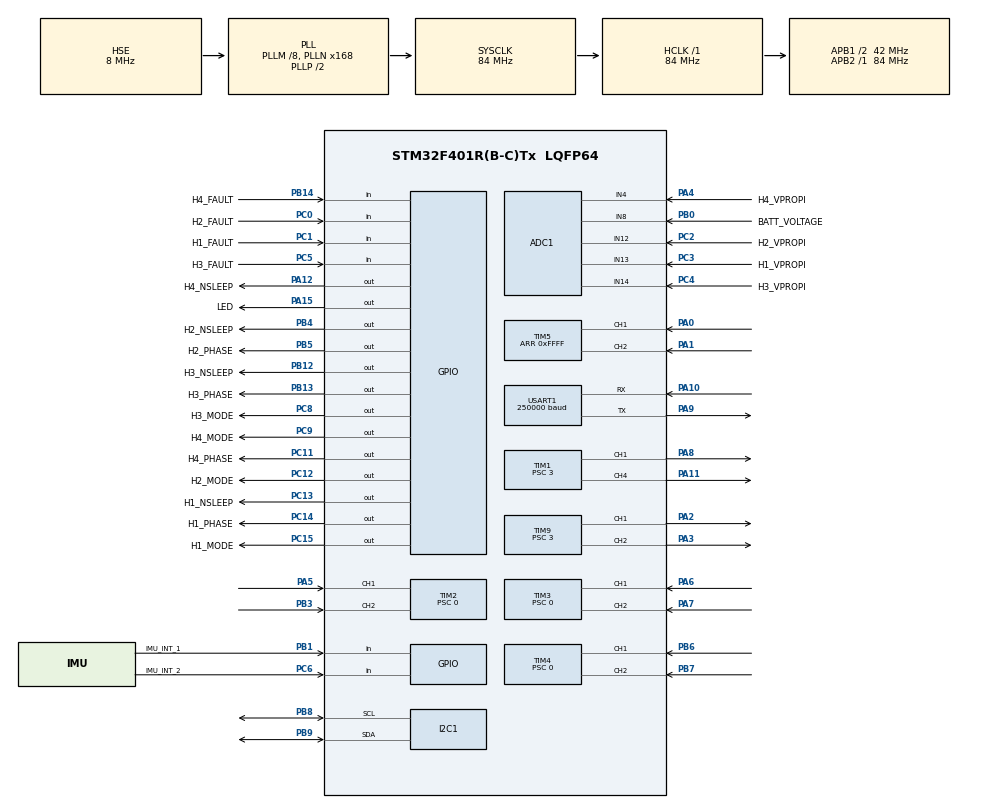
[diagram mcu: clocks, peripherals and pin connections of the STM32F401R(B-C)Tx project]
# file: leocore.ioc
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ADC1.Channel-0\#ChannelRegularConversion=ADC_CHANNEL_13
ADC1.Channel-1\#ChannelRegularConversion=ADC_CHANNEL_12
ADC1.Channel-2\#ChannelRegularConversion=ADC_CHANNEL_14
ADC1.Channel-3\#ChannelRegularConversion=ADC_CHANNEL_4
ADC1.Channel-4\#ChannelRegularConversion=ADC_CHANNEL_8
ADC1.ClockPrescaler=ADC_CLOCK_SYNC_PCLK_DIV8
ADC1.ContinuousConvMode=ENABLE
ADC1.DMAContinuousRequests=ENABLE
ADC1.NbrOfConversion=5
ADC1.NbrOfConversionFlag=1
ADC1.Rank-0\#ChannelRegularConversion=1
ADC1.Rank-1\#ChannelRegularConversion=2
ADC1.Rank-2\#ChannelRegularConversion=3
ADC1.Rank-3\#ChannelRegularConversion=4
ADC1.Rank-4\#ChannelRegularConversion=5
ADC1.SamplingTime-0\#ChannelRegularConversion=ADC_SAMPLETIME_480CYCLES
ADC1.SamplingTime-1\#ChannelRegularConversion=ADC_SAMPLETIME_480CYCLES
ADC1.SamplingTime-2\#ChannelRegularConversion=ADC_SAMPLETIME_480CYCLES
ADC1.SamplingTime-3\#ChannelRegularConversion=ADC_SAMPLETIME_480CYCLES
ADC1.SamplingTime-4\#ChannelRegularConversion=ADC_SAMPLETIME_480CYCLES
ADC1.ScanConvMode=ENABLE
ADC1.master=1
Dma.ADC1.0.Direction=DMA_PERIPH_TO_MEMORY
Dma.ADC1.0.FIFOMode=DMA_FIFOMODE_DISABLE
Dma.ADC1.0.Instance=DMA2_Stream0
Dma.ADC1.0.MemDataAlignment=DMA_MDATAALIGN_HALFWORD
Dma.ADC1.0.MemInc=DMA_MINC_ENABLE
Dma.ADC1.0.Mode=DMA_CIRCULAR
Dma.ADC1.0.PeriphDataAlignment=DMA_PDATAALIGN_HALFWORD
Dma.ADC1.0.PeriphInc=DMA_PINC_DISABLE
Dma.ADC1.0.Priority=DMA_PRIORITY_LOW
Dma.Request0=ADC1
Dma.Request1=USART1_RX
Dma.Request2=USART1_TX
Dma.USART1_RX.1.Direction=DMA_PERIPH_TO_MEMORY
Dma.USART1_RX.1.FIFOMode=DMA_FIFOMODE_DISABLE
Dma.USART1_RX.1.Instance=DMA2_Stream2
Dma.USART1_RX.1.MemDataAlignment=DMA_MDATAALIGN_BYTE
Dma.USART1_RX.1.MemInc=DMA_MINC_ENABLE
Dma.USART1_RX.1.Mode=DMA_CIRCULAR
Dma.USART1_RX.1.PeriphDataAlignment=DMA_PDATAALIGN_BYTE
Dma.USART1_RX.1.PeriphInc=DMA_PINC_DISABLE
Dma.USART1_RX.1.Priority=DMA_PRIORITY_LOW
Dma.USART1_TX.2.Direction=DMA_MEMORY_TO_PERIPH
Dma.USART1_TX.2.FIFOMode=DMA_FIFOMODE_DISABLE
Dma.USART1_TX.2.Instance=DMA2_Stream7
Dma.USART1_TX.2.MemDataAlignment=DMA_MDATAALIGN_BYTE
Dma.USART1_TX.2.MemInc=DMA_MINC_ENABLE
Dma.USART1_TX.2.Mode=DMA_NORMAL
Dma.USART1_TX.2.PeriphDataAlignment=DMA_PDATAALIGN_BYTE
Dma.USART1_TX.2.PeriphInc=DMA_PINC_DISABLE
Dma.USART1_TX.2.Priority=DMA_PRIORITY_LOW
I2C1.I2C_Mode=I2C_Standard
Mcu.Family=STM32F4
Mcu.Name=STM32F401R(B-C)Tx
Mcu.Package=LQFP64
NVIC.DMA2_Stream0_IRQn=true\:1\:0\:true\:false\:true\:false\:true
NVIC.DMA2_Stream2_IRQn=true\:1\:0\:true\:false\:true\:false\:true
NVIC.DMA2_Stream7_IRQn=true\:1\:0\:true\:false\:true\:false\:true
NVIC.PriorityGroup=NVIC_PRIORITYGROUP_4
NVIC.TIM1_TRG_COM_TIM11_IRQn=true\:7\:0\:true\:false\:true\:true\:true
NVIC.USART1_IRQn=true\:1\:0\:true\:false\:true\:true\:true
PA0-WKUP.GPIO_PuPd=GPIO_PULLUP
PA0-WKUP.Signal=S_TIM5_CH1
PA1.GPIO_PuPd=GPIO_PULLUP
PA1.Signal=S_TIM5_CH2
PA10.Mode=Asynchronous
PA10.Signal=USART1_RX
PA11.Signal=S_TIM1_CH4
PA12.GPIO_Label=H4_NSLEEP
PA12.Signal=GPIO_Output
PA13.Mode=Serial_Wire
PA13.Signal=SYS_JTMS-SWDIO
PA14.Mode=Serial_Wire
PA14.Signal=SYS_JTCK-SWCLK
PA15.GPIO_Label=LED
PA15.GPIO_ModeDefaultOutputPP=GPIO_MODE_OUTPUT_OD
PA15.PinState=GPIO_PIN_SET
PA15.Signal=GPIO_Output
PA2.Signal=S_TIM9_CH1
PA3.Signal=S_TIM9_CH2
PA4.GPIO_Label=H4_VPROPI
PA4.Signal=ADCx_IN4
PA5.GPIO_PuPd=GPIO_PULLUP
PA5.Signal=S_TIM2_CH1_ETR
PA6.GPIO_PuPd=GPIO_PULLUP
PA6.Signal=S_TIM3_CH1
PA7.GPIO_PuPd=GPIO_PULLUP
PA7.Signal=S_TIM3_CH2
PA8.Signal=S_TIM1_CH1
PA9.Mode=Asynchronous
PA9.Signal=USART1_TX
PB0.GPIO_Label=BATT_VOLTAGE
PB0.Signal=ADCx_IN8
PB1.GPIO_Label=IMU_INT_1
PB1.Signal=GPIO_Input
PB12.GPIO_Label=H3_NSLEEP
PB12.Signal=GPIO_Output
PB13.GPIO_Label=H3_PHASE
PB13.Signal=GPIO_Output
PB14.GPIO_Label=H4_FAULT
PB14.Signal=GPIO_Input
PB3.GPIO_PuPd=GPIO_PULLUP
PB3.Signal=S_TIM2_CH2
PB4.GPIO_Label=H2_NSLEEP
PB4.Signal=GPIO_Output
PB5.GPIO_Label=H2_PHASE
PB5.Signal=GPIO_Output
PB6.GPIO_PuPd=GPIO_PULLUP
PB6.Signal=S_TIM4_CH1
PB7.GPIO_PuPd=GPIO_PULLUP
PB7.Signal=S_TIM4_CH2
PB8.GPIO_Pu=GPIO_PULLUP
PB8.Mode=I2C
PB8.Signal=I2C1_SCL
PB9.GPIO_Pu=GPIO_PULLUP
PB9.Mode=I2C
PB9.Signal=I2C1_SDA
PC0.GPIO_Label=H2_FAULT
PC0.Signal=GPIO_Input
PC1.GPIO_Label=H1_FAULT
PC1.Signal=GPIO_Input
PC11.GPIO_Label=H4_PHASE
PC11.Signal=GPIO_Output
PC12.GPIO_Label=H2_MODE
PC12.Signal=GPIO_Output
PC13-ANTI_TAMP.GPIO_Label=H1_NSLEEP
PC13-ANTI_TAMP.Signal=GPIO_Output
PC14-OSC32_IN.GPIO_Label=H1_PHASE
PC14-OSC32_IN.Signal=GPIO_Output
PC15-OSC32_OUT.GPIO_Label=H1_MODE
PC15-OSC32_OUT.Signal=GPIO_Output
PC2.GPIO_Label=H2_VPROPI
PC2.Signal=ADCx_IN12
PC3.GPIO_Label=H1_VPROPI
PC3.Signal=ADCx_IN13
PC4.GPIO_Label=H3_VPROPI
PC4.Signal=ADCx_IN14
PC5.GPIO_Label=H3_FAULT
PC5.Signal=GPIO_Input
PC6.GPIO_Label=IMU_INT_2
PC6.Signal=GPIO_Input
PC8.GPIO_Label=H3_MODE
PC8.Signal=GPIO_Output
PC9.GPIO_Label=H4_MODE
PC9.Signal=GPIO_Output
PH0\ -\ OSC_IN.Mode=HSE-External-Oscillator
PH0\ -\ OSC_IN.Signal=RCC_OSC_IN
PH1\ -\ OSC_OUT.Mode=HSE-External-Oscillator
PH1\ -\ OSC_OUT.Signal=RCC_OSC_OUT
ProjectManager.HeapSize=0x200
ProjectManager.StackSize=0x400
ProjectManager.TargetToolchain=Other Toolchains (GPDSC)
RCC.48MHZClocksFreq_Value=42000000
RCC.AHBFreq_Value=84000000
RCC.APB1CLKDivider=RCC_HCLK_DIV2
RCC.APB1Freq_Value=42000000
RCC.APB1TimFreq_Value=84000000
RCC.APB2Freq_Value=84000000
RCC.APB2TimFreq_Value=84000000
RCC.CortexFreq_Value=84000000
RCC.HCLKFreq_Value=84000000
RCC.HSE_VALUE=8000000
RCC.HSI_VALUE=16000000
RCC.LSE_VALUE=32768
RCC.PLLM=8
RCC.PLLN=168
RCC.PLLSourceVirtual=RCC_PLLSOURCE_HSE
RCC.SYSCLKFreq_VALUE=84000000
RCC.SYSCLKSource=RCC_SYSCLKSOURCE_PLLCLK
RCC.VCOOutputFreq_Value=168000000
SH.ADCx_IN12.0=ADC1_IN12,IN12
SH.ADCx_IN13.0=ADC1_IN13,IN13
SH.ADCx_IN14.0=ADC1_IN14,IN14
SH.ADCx_IN4.0=ADC1_IN4,IN4
SH.ADCx_IN8.0=ADC1_IN8,IN8
SH.S_TIM1_CH1.0=TIM1_CH1,PWM Generation1 CH1
SH.S_TIM1_CH4.0=TIM1_CH4,PWM Generation4 CH4
SH.S_TIM2_CH1_ETR.0=TIM2_CH1,Encoder_Interface
SH.S_TIM2_CH2.0=TIM2_CH2,Encoder_Interface
SH.S_TIM3_CH1.0=TIM3_CH1,Encoder_Interface
SH.S_TIM3_CH2.0=TIM3_CH2,Encoder_Interface
SH.S_TIM4_CH1.0=TIM4_CH1,Encoder_Interface
SH.S_TIM4_CH2.0=TIM4_CH2,Encoder_Interface
SH.S_TIM5_CH1.0=TIM5_CH1,Encoder_Interface
SH.S_TIM5_CH2.0=TIM5_CH2,Encoder_Interface
SH.S_TIM9_CH1.0=TIM9_CH1,PWM Generation1 CH1
SH.S_TIM9_CH2.0=TIM9_CH2,PWM Generation2 CH2
TIM1.Channel-PWM\ Generation1\ CH1=TIM_CHANNEL_1
TIM1.Channel-PWM\ Generation4\ CH4=TIM_CHANNEL_4
TIM1.Period=999
TIM1.Prescaler=3
TIM11.Period=10000
TIM11.Prescaler=83
TIM2.EncoderMode=TIM_ENCODERMODE_TI12
TIM2.IC1Filter=8
TIM2.IC2Filter=8
TIM2.Period=0xFFFF
TIM2.Prescaler=0
TIM3.EncoderMode=TIM_ENCODERMODE_TI12
TIM3.IC1Filter=8
TIM3.IC2Filter=8
TIM3.Period=0xFFFF
TIM3.Prescaler=0
TIM4.EncoderMode=TIM_ENCODERMODE_TI12
TIM4.IC1Filter=8
TIM4.IC2Filter=8
TIM4.Period=0xFFFF
TIM4.Prescaler=0
TIM5.EncoderMode=TIM_ENCODERMODE_TI12
TIM5.IC1Filter=8
TIM5.IC2Filter=8
TIM5.Period=0xFFFF
TIM9.Channel-PWM\ Generation1\ CH1=TIM_CHANNEL_1
TIM9.Channel-PWM\ Generation2\ CH2=TIM_CHANNEL_2
TIM9.Period=999
TIM9.Prescaler=3
USART1.BaudRate=250000
USART1.VirtualMode=VM_ASYNC
VP_TIM11_VS_ClockSourceINT.Mode=Enable_Timer
VP_TIM1_VS_ClockSourceINT.Mode=Internal
VP_TIM9_VS_ClockSourceINT.Mode=Internal
board=custom

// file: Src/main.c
/* USER CODE BEGIN Header */
/**
  ******************************************************************************
  * @file           : main.c
  * @brief          : Main program body
  ******************************************************************************
  * @attention
  *
  * <h2><center>&copy; Copyright (c) 2021 STMicroelectronics.
  * All rights reserved.</center></h2>
  *
  * This software component is licensed by ST under BSD 3-Clause license,
  * the "License"; You may not use this file except in compliance with the
  * License. You may obtain a copy of the License at:
  *                        opensource.org/licenses/BSD-3-Clause
  *
  ******************************************************************************
  */
/* USER CODE END Header */
#include "main.h"
#include "adc.h"
#include "dma.h"
#include "i2c.h"
#include "tim.h"
#include "usart.h"
#include "gpio.h"

/* USER CODE BEGIN Includes */
#include "mainf.h"
/* USER CODE END Includes */

/* USER CODE BEGIN PV */
volatile uint16_t adc_buff[5];
/* USER CODE END PV */

void SystemClock_Config(void);

int main(void)
{

  /* MCU Configuration--------------------------------------------------------*/

  /* Reset of all peripherals, Initializes the Flash interface and the Systick. */
  HAL_Init();

  /* Configure the system clock */
  SystemClock_Config();

  /* Initialize all configured peripherals */
  MX_GPIO_Init();
  MX_DMA_Init();
  MX_ADC1_Init();
  MX_I2C1_Init();
  MX_TIM1_Init();
  MX_TIM2_Init();
  MX_TIM3_Init();
  MX_TIM4_Init();
  MX_TIM5_Init();
  MX_TIM11_Init();
  MX_TIM9_Init();
  MX_USART1_UART_Init();
  /* USER CODE BEGIN 2 */
  HAL_TIM_PWM_Start(&htim1, TIM_CHANNEL_1);
  HAL_TIM_PWM_Start(&htim1, TIM_CHANNEL_4);
  HAL_TIM_PWM_Start(&htim9, TIM_CHANNEL_1);
  HAL_TIM_PWM_Start(&htim9, TIM_CHANNEL_2);

  HAL_TIM_Encoder_Start(&htim2, TIM_CHANNEL_ALL);
  HAL_TIM_Encoder_Start(&htim3, TIM_CHANNEL_ALL);
  HAL_TIM_Encoder_Start(&htim4, TIM_CHANNEL_ALL);
  HAL_TIM_Encoder_Start(&htim5, TIM_CHANNEL_ALL);

  HAL_TIM_Base_Start_IT(&htim11);
  HAL_ADC_Start_DMA(&hadc1, (uint32_t*)adc_buff, 5);

  setup();
  /* USER CODE END 2 */

  /* Infinite loop */
  /* USER CODE BEGIN WHILE */
  while (1)
  {
    loop();
    /* USER CODE END WHILE */

  }
}

void SystemClock_Config(void)
{
  RCC_OscInitTypeDef RCC_OscInitStruct = {0};
  RCC_ClkInitTypeDef RCC_ClkInitStruct = {0};

  /** Configure the main internal regulator output voltage
  */
  __HAL_RCC_PWR_CLK_ENABLE();
  __HAL_PWR_VOLTAGESCALING_CONFIG(PWR_REGULATOR_VOLTAGE_SCALE2);
  /** Initializes the RCC Oscillators according to the specified parameters
  * in the RCC_OscInitTypeDef structure.
  */
  RCC_OscInitStruct.OscillatorType = RCC_OSCILLATORTYPE_HSE;
  RCC_OscInitStruct.HSEState = RCC_HSE_ON;
  RCC_OscInitStruct.PLL.PLLState = RCC_PLL_ON;
  RCC_OscInitStruct.PLL.PLLSource = RCC_PLLSOURCE_HSE;
  RCC_OscInitStruct.PLL.PLLM = 8;
  RCC_OscInitStruct.PLL.PLLN = 168;
  RCC_OscInitStruct.PLL.PLLP = RCC_PLLP_DIV2;
  RCC_OscInitStruct.PLL.PLLQ = 4;
  if (HAL_RCC_OscConfig(&RCC_OscInitStruct) != HAL_OK)
  {
    Error_Handler();
  }
  /** Initializes the CPU, AHB and APB buses clocks
  */
  RCC_ClkInitStruct.ClockType = RCC_CLOCKTYPE_HCLK|RCC_CLOCKTYPE_SYSCLK
                              |RCC_CLOCKTYPE_PCLK1|RCC_CLOCKTYPE_PCLK2;
  RCC_ClkInitStruct.SYSCLKSource = RCC_SYSCLKSOURCE_PLLCLK;
  RCC_ClkInitStruct.AHBCLKDivider = RCC_SYSCLK_DIV1;
  RCC_ClkInitStruct.APB1CLKDivider = RCC_HCLK_DIV2;
  RCC_ClkInitStruct.APB2CLKDivider = RCC_HCLK_DIV1;

  if (HAL_RCC_ClockConfig(&RCC_ClkInitStruct, FLASH_LATENCY_2) != HAL_OK)
  {
    Error_Handler();
  }
}

/* USER CODE BEGIN 4 */
void HAL_TIM_PeriodElapsedCallback(TIM_HandleTypeDef *htim) {
  if (htim->Instance == TIM11) {
    update();
  }
}
/* USER CODE END 4 */

void Error_Handler(void)
{
  __disable_irq();
  while (1)
  {
  }
}

/************************ (C) COPYRIGHT STMicroelectronics *****END OF FILE****/
